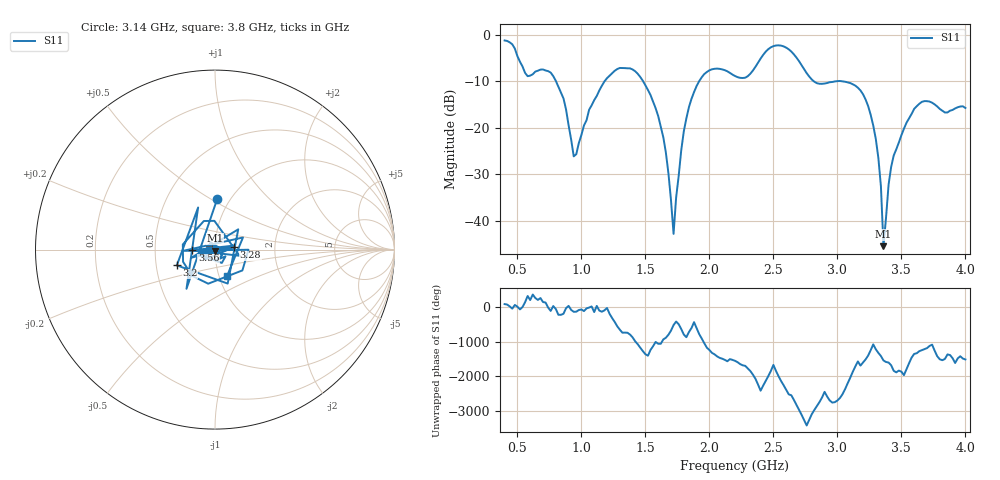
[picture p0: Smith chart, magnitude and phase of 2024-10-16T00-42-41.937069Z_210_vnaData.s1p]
! Created with skrf (http://scikit-rf.org).
# Hz S RI R 50.0
!freq ReS11 ImS11
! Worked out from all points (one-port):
!   181 points, 400 MHz to 4 GHz, reference 50 ohm
!   lowest |S11| = -45.4 dB at 3.36 GHz (marker M1), VSWR 1.01, Z = 49.9 - j0.531 ohm
!   |S11| at or under -10 dB: 801.6 MHz to 1.181 GHz (378.9 MHz wide, 38.2 % of centre); 1.482 GHz to 1.919 GHz (437 MHz wide, 25.7 % of centre); 3.04 GHz to end of sweep (the widest 3 of 4)
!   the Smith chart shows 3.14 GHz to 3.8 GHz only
!   S11 on the Smith chart (normalised r, x): 3.14 GHz: 0.87, +0.54; 3.2 GHz: 0.64, -0.12; 3.28 GHz: 1.23, +0.03; 3.56 GHz: 0.78, -0.01; 3.8 GHz: 1.10, -0.32
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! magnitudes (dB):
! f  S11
! 400 MHz  -1.2
! 580 MHz  -8.9
! 760 MHz  -8.1
! 860 MHz  -13.7
! 940 MHz  -26.1
! 1.06 GHz  -16.1
! 1.3 GHz  -7.1
! 1.44 GHz  -8.4
! 1.6 GHz  -17.5
! 1.66 GHz  -25.3
! 1.72 GHz  -42.8
! 1.76 GHz  -30.3
! 1.82 GHz  -18.0
! 1.92 GHz  -10.0
! 2.2 GHz  -8.9
! 2.5 GHz  -2.4
! 2.66 GHz  -4.2
! 2.84 GHz  -10.4
! 3.1 GHz  -10.4
! 3.14 GHz  -10.9
! 3.2 GHz  -12.8
! 3.28 GHz  -19.5
! 3.34 GHz  -32.5
! 3.36 GHz  -45.4
! 3.42 GHz  -28.4
! 3.56 GHz  -17.9
! 3.8 GHz  -15.9
! 4 GHz  -15.7
